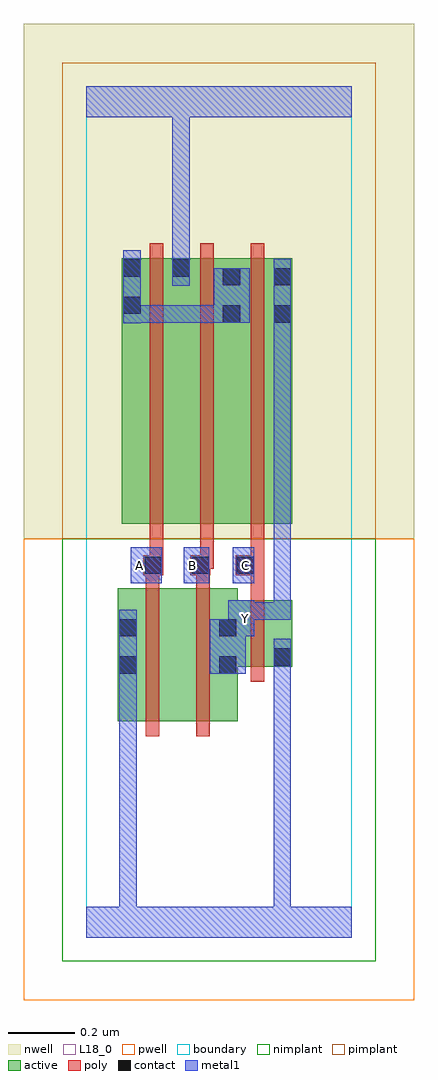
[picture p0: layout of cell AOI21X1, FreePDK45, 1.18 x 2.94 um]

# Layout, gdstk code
import gdstk
lib = gdstk.Library(unit=1e-6, precision=1e-09)
def R(c, l, rs):  # rectangles x0, y0, x1, y1
    for r in rs: c.add(gdstk.rectangle(r[:2], r[2:], *l))
def A(c, l, x, y, w, h, nx, ny, dx, dy):  # array of equal rectangles
    R(c, l, [(x+i*dx, y+j*dy, x+i*dx+w, y+j*dy+h) for i in range(nx) for j in range(ny)])
active = (1, 0)
pwell = (2, 0)
nwell = (3, 0)
nimplant = (4, 0)
pimplant = (5, 0)
poly = (9, 0)
contact = (10, 0)
metal1 = (11, 0)
L18_0 = (18, 0)
boundary = (235, 0)

aoi21x1 = lib.new_cell('AOI21X1')
A(aoi21x1, active, 0.256, 1.244, 0.06, 0.8, 3, 1, 0.152, 0)
R(aoi21x1, active, [(0.096,0.65,0.276,1.05), (0.096,0.65,0.156,1.05), (0.276,0.65,0.456,1.05), (0.396,0.65,0.456,0.962), (0.396,0.814,0.62,1.014), (0.56,0.814,0.62,1.014), (0.108,1.244,0.168,2.044), (0.108,1.244,0.316,2.044), (0.256,1.244,0.468,2.044), (0.408,1.244,0.62,2.044)])
R(aoi21x1, pwell, [(-0.188,-0.188,0.988,1.2)])
R(aoi21x1, nwell, [(-0.188,1.2,0.988,2.748)])
R(aoi21x1, nimplant, [(-0.072,-0.072,0.872,1.2)])
R(aoi21x1, pimplant, [(-0.072,1.2,0.872,2.632)])
A(aoi21x1, poly, 0.192, 1.11, 0.04, 0.13, 3, 1, 0.152, 0)
A(aoi21x1, poly, 0.192, 1.2, 0.04, 0.888, 3, 1, 0.152, 0)
R(aoi21x1, poly, [(0.18,0.606,0.22,1.094), (0.332,0.606,0.372,1.094), (0.496,0.77,0.536,1.058), (0.496,1.018,0.536,1.13), (0.18,1.054,0.22,1.13), (0.332,1.054,0.372,1.13), (0.172,1.09,0.232,1.15), (0.18,1.09,0.22,1.13), (0.18,1.09,0.22,1.13), (0.314,1.09,0.374,1.15), (0.45,1.09,0.536,1.15), (0.496,1.09,0.536,1.13), (0.496,1.09,0.536,1.13), (0.334,1.11,0.374,1.15), (0.334,1.11,0.384,1.15)])
R(aoi21x1, contact, [(0.1,0.794,0.152,0.846), (0.4,0.794,0.452,0.846), (0.564,0.818,0.616,0.87), (0.1,0.906,0.152,0.958), (0.4,0.906,0.452,0.958), (0.176,1.094,0.228,1.146), (0.318,1.094,0.37,1.146), (0.454,1.094,0.506,1.146), (0.412,1.85,0.464,1.902), (0.564,1.85,0.616,1.902), (0.112,1.876,0.164,1.928), (0.412,1.962,0.464,2.014), (0.564,1.962,0.616,2.014), (0.112,1.988,0.164,2.04), (0.26,1.988,0.312,2.04)])
R(aoi21x1, metal1, [(0,0,0.8,0.092), (0.1,0.04,0.152,0.092), (0.1,0.04,0.152,0.092), (0.1,0.04,0.152,0.092), (0.1,0.04,0.152,0.092), (0.1,0.04,0.152,0.092), (0.1,0.04,0.152,0.092), (0.1,0.04,0.152,0.092), (0.1,0.04,0.152,0.092), (0.1,0.04,0.152,0.092), (0.1,0.04,0.152,0.092), (0.1,0.04,0.152,0.092), (0.1,0.04,0.152,0.092), (0.1,0.04,0.152,0.818), (0.564,0.04,0.616,0.092), (0.564,0.04,0.616,0.092), (0.564,0.04,0.616,0.092), (0.564,0.04,0.616,0.092), (0.564,0.04,0.616,0.842), (0.1,0.766,0.152,0.986), (0.564,0.79,0.616,0.842), (0.564,0.79,0.616,0.842), (0.564,0.79,0.616,0.842), (0.564,0.79,0.616,0.842), (0.564,0.79,0.616,0.842), (0.564,0.79,0.616,0.842), (0.564,0.79,0.616,0.842), (0.564,0.79,0.616,0.842), (0.564,0.79,0.616,0.842), (0.564,0.79,0.616,0.842), (0.564,0.79,0.616,0.842), (0.564,0.79,0.616,0.842), (0.564,0.79,0.616,0.898), (0.372,0.794,0.48,0.958), (0.428,0.906,0.48,0.958), (0.428,0.906,0.506,1.014), (0.454,0.956,0.506,1.008), (0.454,0.956,0.506,1.008), (0.454,0.956,0.616,1.008), (0.564,0.956,0.616,1.008), (0.564,0.956,0.616,1.874), (0.134,1.066,0.228,1.174), (0.294,1.066,0.37,1.174), (0.442,1.066,0.506,1.174), (0.564,1.822,0.616,1.874), (0.564,1.822,0.616,1.874), (0.564,1.822,0.616,2.042), (0.112,1.848,0.164,2.068), (0.112,1.85,0.164,1.902), (0.112,1.85,0.164,1.902), (0.112,1.85,0.274,1.902), (0.222,1.85,0.274,1.902), (0.222,1.85,0.274,1.902), (0.222,1.85,0.274,1.902), (0.222,1.85,0.436,1.902), (0.384,1.85,0.492,2.014), (0.26,1.96,0.312,2.068), (0.26,2.016,0.312,2.068), (0.26,2.016,0.312,2.068), (0.26,2.016,0.312,2.068), (0.26,2.016,0.312,2.068), (0.26,2.016,0.312,2.068), (0.26,2.016,0.312,2.068), (0.26,2.016,0.312,2.52), (0,2.468,0.8,2.56), (0.26,2.468,0.312,2.52), (0.26,2.468,0.312,2.52)])
A(aoi21x1, L18_0, 0.134, 1.094, 0.052, 0.052, 3, 1, 0.16, 0)
R(aoi21x1, L18_0, [(0,0,0.8,0.092), (0.1,0.04,0.152,0.092), (0.1,0.04,0.152,0.092), (0.1,0.04,0.152,0.092), (0.1,0.04,0.152,0.092), (0.1,0.04,0.152,0.092), (0.1,0.04,0.152,0.092), (0.1,0.04,0.152,0.092), (0.1,0.04,0.152,0.092), (0.1,0.04,0.152,0.092), (0.1,0.04,0.152,0.092), (0.1,0.04,0.152,0.092), (0.1,0.04,0.152,0.092), (0.1,0.04,0.152,0.818), (0.564,0.04,0.616,0.092), (0.564,0.04,0.616,0.092), (0.564,0.04,0.616,0.092), (0.564,0.04,0.616,0.092), (0.564,0.04,0.616,0.842), (0.1,0.766,0.152,0.986), (0.564,0.79,0.616,0.842), (0.564,0.79,0.616,0.842), (0.564,0.79,0.616,0.842), (0.564,0.79,0.616,0.842), (0.564,0.79,0.616,0.842), (0.564,0.79,0.616,0.842), (0.564,0.79,0.616,0.842), (0.564,0.79,0.616,0.842), (0.564,0.79,0.616,0.842), (0.564,0.79,0.616,0.842), (0.564,0.79,0.616,0.842), (0.564,0.79,0.616,0.842), (0.564,0.79,0.616,0.898), (0.372,0.794,0.48,0.958), (0.428,0.906,0.48,0.958), (0.428,0.906,0.506,1.014), (0.454,0.934,0.506,0.986), (0.454,0.956,0.506,1.008), (0.454,0.956,0.506,1.008), (0.454,0.956,0.616,1.008), (0.564,0.956,0.616,1.008), (0.564,0.956,0.616,1.874), (0.134,1.066,0.228,1.174), (0.294,1.066,0.37,1.174), (0.442,1.066,0.506,1.174), (0.564,1.822,0.616,1.874), (0.564,1.822,0.616,1.874), (0.564,1.822,0.616,2.042), (0.26,1.96,0.312,2.068), (0.26,2.016,0.312,2.068), (0.26,2.016,0.312,2.068), (0.26,2.016,0.312,2.068), (0.26,2.016,0.312,2.068), (0.26,2.016,0.312,2.068), (0.26,2.016,0.312,2.068), (0.26,2.016,0.312,2.52), (0,2.468,0.8,2.56), (0.26,2.468,0.312,2.52), (0.26,2.468,0.312,2.52)])
R(aoi21x1, boundary, [(0,0,0.8,2.56)])
aoi21x1.add(gdstk.Label('A', (0.16,1.12), layer=11, texttype=0))
aoi21x1.add(gdstk.Label('B', (0.32,1.12), layer=11, texttype=0))
aoi21x1.add(gdstk.Label('C', (0.48,1.12), layer=11, texttype=0))
aoi21x1.add(gdstk.Label('Y', (0.48,0.96), layer=11, texttype=0))

lib.write_gds('AOI21X1.gds')
